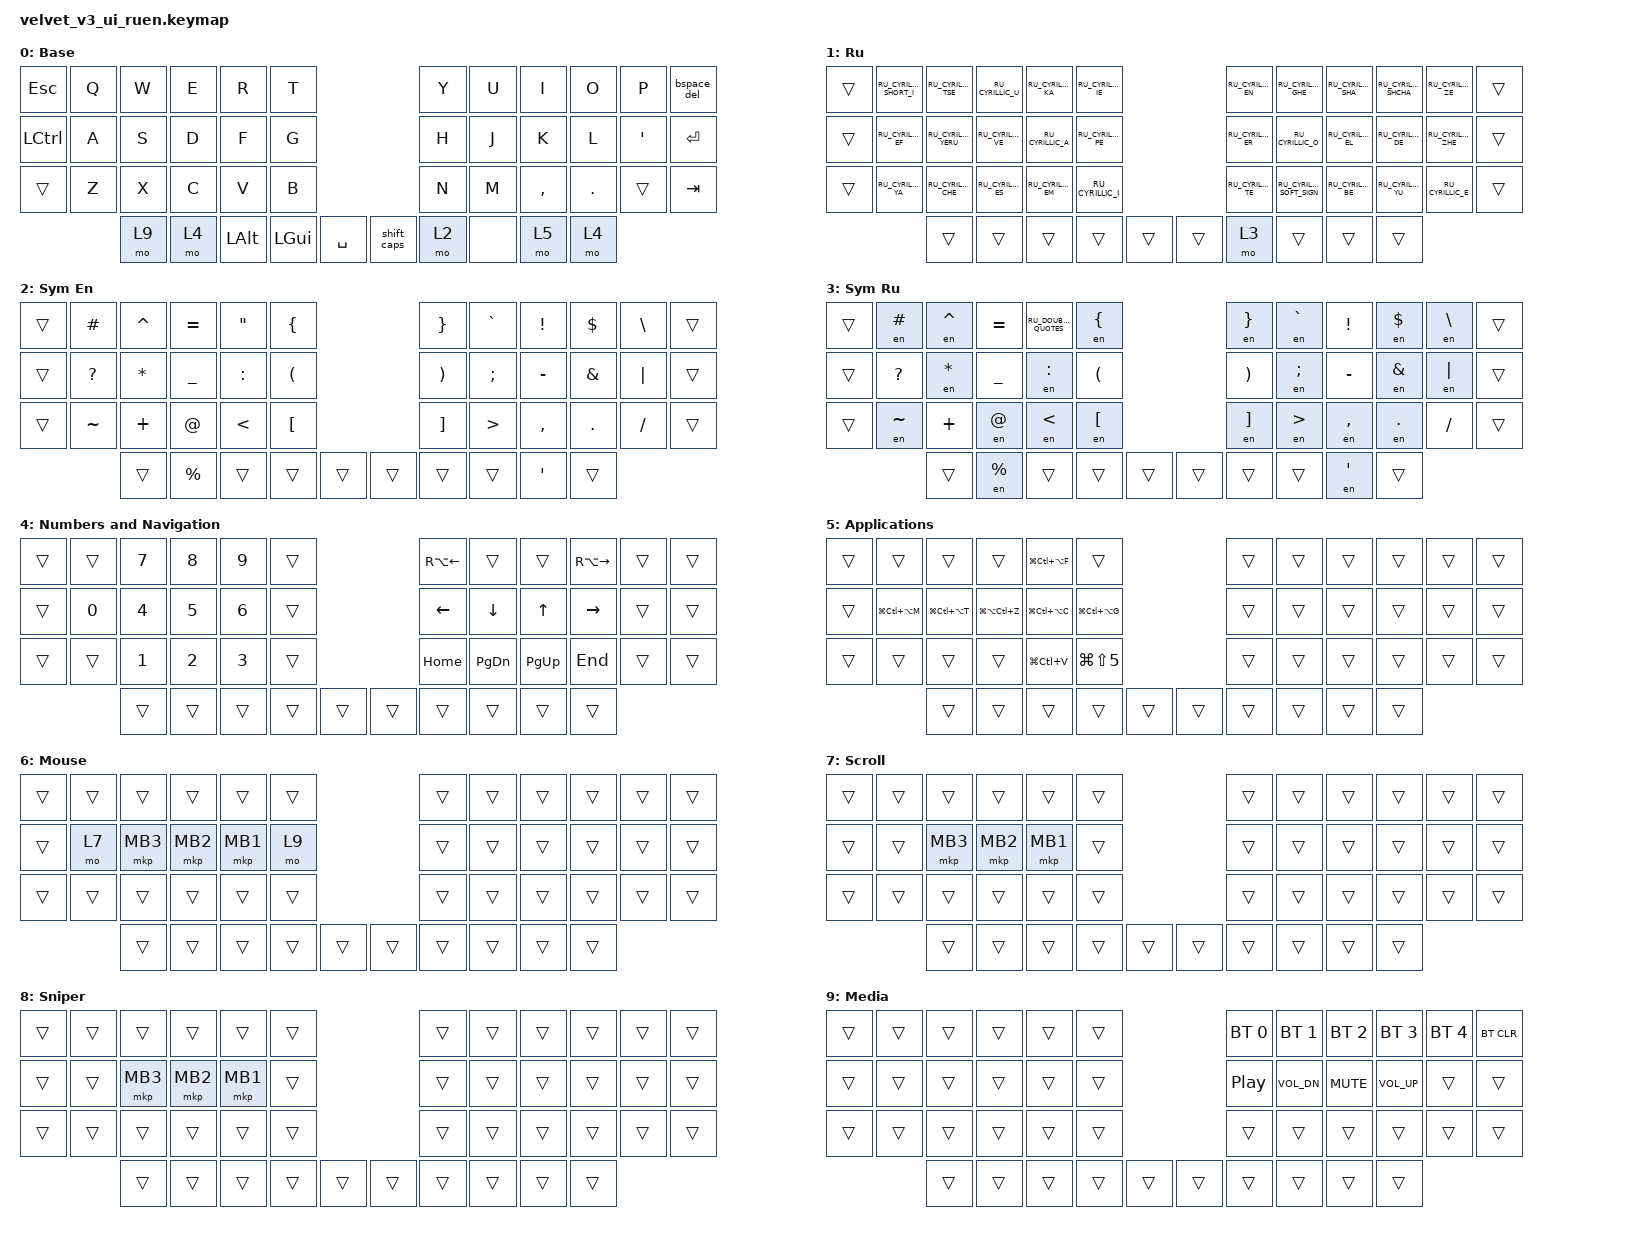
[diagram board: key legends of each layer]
#include "keys_ru.h"
#include <dt-bindings/zmk/input_transform.h>
#include <input/processors.dtsi>
#include <zephyr/dt-bindings/input/input-event-codes.h>
#include <behaviors.dtsi>
#include <dt-bindings/zmk/bt.h>
#include <dt-bindings/zmk/keys.h>
#include <dt-bindings/zmk/pointing.h>

/ {
    combos {
        compatible = "zmk,combos";

        kha {
            bindings = <&kp RU_CYRILLIC_HA>;
            key-positions = <7 8>;
            layers = <1>;
        };

        hrdsgn {
            bindings = <&kp RU_CYRILLIC_HARD_SIGN>;
            key-positions = <8 9>;
            layers = <1>;
        };

        spotlight {
            bindings = <&kp LG(SPACE)>;
            key-positions = <39 40>;
        };

        to_ru {
            bindings = <&layer_ru>;
            key-positions = <3 4 2>;
            layers = <0>;
        };

        to_en {
            bindings = <&layer_en>;
            key-positions = <2 3 4>;
            layers = <1>;
        };
    };

    macros {
        to_ru: to_ru {
            compatible = "zmk,behavior-macro";
            #binding-cells = <0>;
            bindings = <&kp LS(LC(N2))>;
            label = "TO_RU";
            wait-ms = <0>;
            tap-ms = <30>;
        };

        to_en: to_en {
            compatible = "zmk,behavior-macro";
            #binding-cells = <0>;
            bindings = <&kp LS(LC(N1))>;
            label = "TO_EN";
            wait-ms = <0>;
            tap-ms = <30>;
        };

        layer_en: layer_en {
            compatible = "zmk,behavior-macro";
            #binding-cells = <0>;
            bindings = <&to 0 &to_en>;
            label = "LAYER_EN";
            wait-ms = <0>;
            tap-ms = <30>;
        };

        layer_ru: layer_ru {
            compatible = "zmk,behavior-macro";
            #binding-cells = <0>;
            bindings = <&to 1 &to_ru>;
            label = "LAYER_RU";
            tap-ms = <30>;
            wait-ms = <0>;
        };

        en: en {
            compatible = "zmk,behavior-macro-one-param";
            #binding-cells = <1>;
            bindings =
                <&to_en>,
                <&macro_press>,
                <&macro_param_1to1 &kp MACRO_PLACEHOLDER>,
                <&macro_pause_for_release>,
                <&macro_release>,
                <&macro_param_1to1 &kp MACRO_PLACEHOLDER>,
                <&macro_tap>,
                <&to_ru>;

            label = "EN";
            wait-ms = <0>;
            tap-ms = <30>;
        };
    };

    behaviors {
        bspace_del: bspace_del {
            compatible = "zmk,behavior-mod-morph";
            label = "BSPACE_DEL";
            bindings = <&kp BACKSPACE>, <&kp DELETE>;

            #binding-cells = <0>;
            mods = <(MOD_LSFT)>;
        };

        shift_caps: shift_caps {
            compatible = "zmk,behavior-tap-dance";
            label = "SHIFT_CAPS";
            #binding-cells = <0>;
            bindings = <&kp LEFT_SHIFT>, <&caps_word>;
        };

        zip_auto_mouse: zip_auto_mouse {
            compatible = "zmk,input-processor-temp-layer";
            #input-processor-cells = <2>;
            require-prior-idle-ms = <800>;
            excluded-positions = <>;
        };

        mouse_layer: mouse_layer {
            compatible = "zmk,behavior-sticky-key";
            label = "MOUSE_LAYER";
            bindings = <&mo>;
            #binding-cells = <1>;
            release-after-ms = <200>;
        };
    };

    keymap {
        compatible = "zmk,keymap";

        en {
            bindings = <
&kp ESC           &kp Q  &kp W  &kp E  &kp R         &kp T                                   &kp Y  &kp U  &kp I      &kp O    &kp P           &bspace_del
&kp LEFT_CONTROL  &kp A  &kp S  &kp D  &kp F         &kp G                                   &kp H  &kp J  &kp K      &kp L    &kp APOSTROPHE  &kp ENTER
&trans            &kp Z  &kp X  &kp C  &kp V         &kp B                                   &kp N  &kp M  &kp COMMA  &kp DOT  &trans          &kp TAB
                         &mo 9  &mo 4  &kp LEFT_ALT  &kp LEFT_GUI  &kp SPACE    &shift_caps  &mo 2  &none  &mo 5      &mo 4
            >;

            display-name = "Base";
        };

        ru {
            display-name = "Ru";
            bindings = <
&trans  &kp RU_CYRILLIC_SHORT_I  &kp RU_CYRILLIC_TSE   &kp RU_CYRILLIC_U   &kp RU_CYRILLIC_KA  &kp RU_CYRILLIC_IE                    &kp RU_CYRILLIC_EN  &kp RU_CYRILLIC_GHE        &kp RU_CYRILLIC_SHA  &kp RU_CYRILLIC_SHCHA  &kp RU_CYRILLIC_ZE   &trans
&trans  &kp RU_CYRILLIC_EF       &kp RU_CYRILLIC_YERU  &kp RU_CYRILLIC_VE  &kp RU_CYRILLIC_A   &kp RU_CYRILLIC_PE                    &kp RU_CYRILLIC_ER  &kp RU_CYRILLIC_O          &kp RU_CYRILLIC_EL   &kp RU_CYRILLIC_DE     &kp RU_CYRILLIC_ZHE  &trans
&trans  &kp RU_CYRILLIC_YA       &kp RU_CYRILLIC_CHE   &kp RU_CYRILLIC_ES  &kp RU_CYRILLIC_EM  &kp RU_CYRILLIC_I                     &kp RU_CYRILLIC_TE  &kp RU_CYRILLIC_SOFT_SIGN  &kp RU_CYRILLIC_BE   &kp RU_CYRILLIC_YU     &kp RU_CYRILLIC_E    &trans
                                 &trans                &trans              &trans              &trans              &trans    &trans  &mo 3               &trans                     &trans               &trans
            >;
        };

        sym_en {
            bindings = <
&trans  &kp HASH      &kp CARET     &kp EQUAL       &kp DOUBLE_QUOTES  &kp LEFT_BRACE                          &kp RIGHT_BRACE        &kp GRAVE         &kp EXCL          &kp DOLLAR  &kp BACKSLASH  &trans
&trans  &kp QUESTION  &kp ASTERISK  &kp UNDERSCORE  &kp COLON          &kp LEFT_PARENTHESIS                    &kp RIGHT_PARENTHESIS  &kp SEMI          &kp MINUS         &kp AMPS    &kp PIPE       &trans
&trans  &kp TILDE     &kp PLUS      &kp AT          &kp LESS_THAN      &kp LEFT_BRACKET                        &kp RIGHT_BRACKET      &kp GREATER_THAN  &kp COMMA         &kp DOT     &kp SLASH      &trans
                      &trans        &kp PERCENT     &trans             &trans                &trans    &trans  &trans                 &trans            &kp SINGLE_QUOTE  &trans
            >;

            display-name = "Sym En";
        };

        sym_ru {
            display-name = "Sym Ru";
            bindings = <
&trans  &en HASH      &en CARET     &kp EQUAL       &kp RU_DOUBLE_QUOTES  &en LEFT_BRACE                          &en RIGHT_BRACE        &en GRAVE         &kp EXCL          &en DOLLAR  &en BACKSLASH  &trans
&trans  &kp QUESTION  &en ASTERISK  &kp UNDERSCORE  &en COLON             &kp LEFT_PARENTHESIS                    &kp RIGHT_PARENTHESIS  &en SEMICOLON     &kp MINUS         &en AMPS    &en PIPE       &trans
&trans  &en TILDE     &kp PLUS      &en AT          &en LESS_THAN         &en LEFT_BRACKET                        &en RIGHT_BRACKET      &en GREATER_THAN  &en COMMA         &en DOT     &kp SLASH      &trans
                      &trans        &en PERCENT     &trans                &trans                &trans    &trans  &trans                 &trans            &en SINGLE_QUOTE  &trans
            >;
        };

        nums_nav {
            bindings = <
&trans  &trans  &kp N7  &kp N8  &kp N9  &trans                    &kp RA(LEFT_ARROW)  &trans          &trans        &kp RA(RIGHT_ARROW)  &trans  &trans
&trans  &kp N0  &kp N4  &kp N5  &kp N6  &trans                    &kp LEFT            &kp DOWN_ARROW  &kp UP_ARROW  &kp RIGHT            &trans  &trans
&trans  &trans  &kp N1  &kp N2  &kp N3  &trans                    &kp HOME            &kp PAGE_DOWN   &kp PAGE_UP   &kp END              &trans  &trans
                &trans  &trans  &trans  &trans  &trans    &trans  &trans              &trans          &trans        &trans
            >;

            label = "Numbers and Navigation";
        };

        apps {
            bindings = <
&trans  &trans             &trans             &trans             &kp LG(LC(LA(F)))  &trans                                  &trans  &trans  &trans  &trans  &trans  &trans
&trans  &kp LG(LC(LA(M)))  &kp LG(LC(LA(T)))  &kp LG(LA(LC(Z)))  &kp LG(LC(LA(C)))  &kp LG(LC(LA(G)))                       &trans  &trans  &trans  &trans  &trans  &trans
&trans  &trans             &trans             &trans             &kp LG(LC(V))      &kp LG(LS(NUMBER_5))                    &trans  &trans  &trans  &trans  &trans  &trans
                           &trans             &trans             &trans             &trans                &trans    &trans  &trans  &trans  &trans  &trans
            >;

            label = "Applications";
        };

        mouse {
            bindings = <
&trans  &trans  &trans    &trans    &trans    &trans                    &trans  &trans  &trans  &trans  &trans  &trans
&trans  &mo 7   &mkp MB3  &mkp MB2  &mkp MB1  &mo 9                     &trans  &trans  &trans  &trans  &trans  &trans
&trans  &trans  &trans    &trans    &trans    &trans                    &trans  &trans  &trans  &trans  &trans  &trans
                &trans    &trans    &trans    &trans  &trans    &trans  &trans  &trans  &trans  &trans
            >;

            display-name = "Mouse";
        };

        scroll {
            bindings = <
&trans  &trans  &trans    &trans    &trans    &trans                    &trans  &trans  &trans  &trans  &trans  &trans
&trans  &trans  &mkp MB3  &mkp MB2  &mkp MB1  &trans                    &trans  &trans  &trans  &trans  &trans  &trans
&trans  &trans  &trans    &trans    &trans    &trans                    &trans  &trans  &trans  &trans  &trans  &trans
                &trans    &trans    &trans    &trans  &trans    &trans  &trans  &trans  &trans  &trans
            >;

            display-name = "Scroll";
        };

        sniper {
            bindings = <
&trans  &trans  &trans    &trans    &trans    &trans                    &trans  &trans  &trans  &trans  &trans  &trans
&trans  &trans  &mkp MB3  &mkp MB2  &mkp MB1  &trans                    &trans  &trans  &trans  &trans  &trans  &trans
&trans  &trans  &trans    &trans    &trans    &trans                    &trans  &trans  &trans  &trans  &trans  &trans
                &trans    &trans    &trans    &trans  &trans    &trans  &trans  &trans  &trans  &trans
            >;

            display-name = "Sniper";
        };

        media {
            bindings = <
&trans  &trans  &trans  &trans  &trans  &trans                    &bt BT_SEL 0      &bt BT_SEL 1  &bt BT_SEL 2  &bt BT_SEL 3  &bt BT_SEL 4  &bt BT_CLR
&trans  &trans  &trans  &trans  &trans  &trans                    &kp C_PLAY_PAUSE  &kp C_VOL_DN  &kp K_MUTE    &kp C_VOL_UP  &trans        &trans
&trans  &trans  &trans  &trans  &trans  &trans                    &trans            &trans        &trans        &trans        &trans        &trans
                &trans  &trans  &trans  &trans  &trans    &trans  &trans            &trans        &trans        &trans
            >;

            display-name = "Media";
        };
    };
};

&trackball { cpi = <1000>; };

&trackball_listener {
    input-processors = <&zip_auto_mouse 6 500>, <&zip_xy_scaler 9 20>;

    scroller {
        layers = <7>;
        input-processors =
            <&zip_xy_transform INPUT_TRANSFORM_Y_INVERT>,
            <&zip_xy_scaler 1 32>,
            <&zip_xy_to_scroll_mapper>;
    };

    sniper {
        layers = <9>;
        input-processors = <&zip_xy_scaler 1 4>;
    };
};
